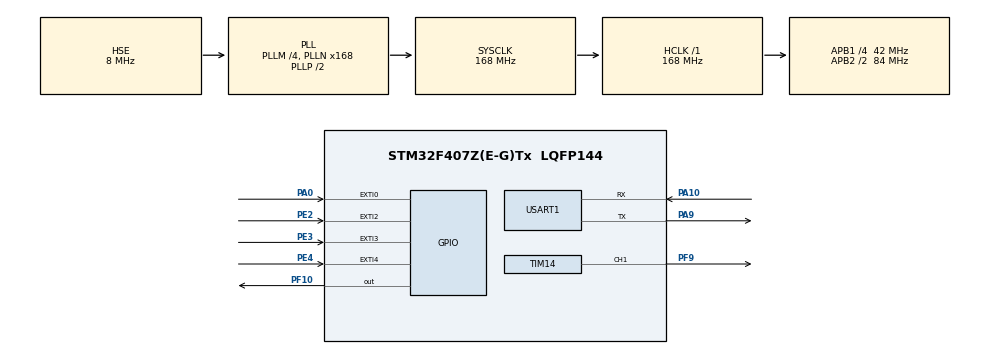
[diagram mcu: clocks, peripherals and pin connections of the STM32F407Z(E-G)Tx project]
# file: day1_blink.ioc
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Dma.Request0=USART1_RX
Dma.USART1_RX.0.Direction=DMA_PERIPH_TO_MEMORY
Dma.USART1_RX.0.FIFOMode=DMA_FIFOMODE_DISABLE
Dma.USART1_RX.0.Instance=DMA2_Stream2
Dma.USART1_RX.0.MemDataAlignment=DMA_MDATAALIGN_BYTE
Dma.USART1_RX.0.MemInc=DMA_MINC_ENABLE
Dma.USART1_RX.0.Mode=DMA_NORMAL
Dma.USART1_RX.0.PeriphDataAlignment=DMA_PDATAALIGN_BYTE
Dma.USART1_RX.0.PeriphInc=DMA_PINC_DISABLE
Dma.USART1_RX.0.Priority=DMA_PRIORITY_LOW
Mcu.Family=STM32F4
Mcu.Name=STM32F407Z(E-G)Tx
Mcu.Package=LQFP144
NVIC.DMA2_Stream2_IRQn=true\:0\:0\:false\:false\:true\:false\:true\:true
NVIC.EXTI0_IRQn=true\:0\:0\:false\:false\:true\:true\:true\:true
NVIC.EXTI2_IRQn=true\:0\:0\:false\:false\:true\:true\:true\:true
NVIC.EXTI3_IRQn=true\:0\:0\:false\:false\:true\:true\:true\:true
NVIC.EXTI4_IRQn=true\:0\:0\:false\:false\:true\:true\:true\:true
NVIC.PriorityGroup=NVIC_PRIORITYGROUP_4
NVIC.TIM2_IRQn=true\:0\:0\:false\:false\:true\:true\:true\:true
NVIC.USART1_IRQn=true\:0\:0\:false\:false\:true\:true\:true\:true
PA0-WKUP.GPIO_ModeDefaultEXTI=GPIO_MODE_IT_RISING
PA0-WKUP.GPIO_PuPd=GPIO_PULLDOWN
PA0-WKUP.Signal=GPXTI0
PA10.Mode=Asynchronous
PA10.Signal=USART1_RX
PA9.Mode=Asynchronous
PA9.Signal=USART1_TX
PE2.GPIO_ModeDefaultEXTI=GPIO_MODE_IT_FALLING
PE2.GPIO_PuPd=GPIO_PULLUP
PE2.Signal=GPXTI2
PE3.GPIO_ModeDefaultEXTI=GPIO_MODE_IT_FALLING
PE3.GPIO_PuPd=GPIO_PULLUP
PE3.Signal=GPXTI3
PE4.GPIO_ModeDefaultEXTI=GPIO_MODE_IT_FALLING
PE4.GPIO_PuPd=GPIO_PULLUP
PE4.Signal=GPXTI4
PF10.Signal=GPIO_Output
PF9.Signal=S_TIM14_CH1
PH0-OSC_IN.Mode=HSE-External-Oscillator
PH0-OSC_IN.Signal=RCC_OSC_IN
PH1-OSC_OUT.Mode=HSE-External-Oscillator
PH1-OSC_OUT.Signal=RCC_OSC_OUT
ProjectManager.HeapSize=0x200
ProjectManager.StackSize=0x400
ProjectManager.TargetToolchain=MDK-ARM V5
RCC.48MHZClocksFreq_Value=84000000
RCC.AHBFreq_Value=168000000
RCC.APB1CLKDivider=RCC_HCLK_DIV4
RCC.APB1Freq_Value=42000000
RCC.APB1TimFreq_Value=84000000
RCC.APB2CLKDivider=RCC_HCLK_DIV2
RCC.APB2Freq_Value=84000000
RCC.APB2TimFreq_Value=168000000
RCC.CortexFreq_Value=168000000
RCC.HCLKFreq_Value=168000000
RCC.HSE_VALUE=8000000
RCC.HSI_VALUE=16000000
RCC.LSE_VALUE=32768
RCC.PLLM=4
RCC.PLLN=168
RCC.PLLSourceVirtual=RCC_PLLSOURCE_HSE
RCC.SYSCLKFreq_VALUE=168000000
RCC.SYSCLKSource=RCC_SYSCLKSOURCE_PLLCLK
RCC.VCOOutputFreq_Value=336000000
SH.S_TIM14_CH1.0=TIM14_CH1,PWM Generation1 CH1
TIM14.Channel=TIM_CHANNEL_1
TIM14.OCPolarity_1=TIM_OCPOLARITY_LOW
TIM14.Period=999
TIM14.Prescaler=83
TIM2.Period=9999
TIM2.Prescaler=8399
USART1.VirtualMode=VM_ASYNC
VP_TIM14_VS_ClockSourceINT.Mode=Enable_Timer
VP_TIM2_VS_ClockSourceINT.Mode=Internal
board=custom

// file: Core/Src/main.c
/* USER CODE BEGIN Header */
/**
  ******************************************************************************
  * @file           : main.c
  * @brief          : Main program body
  ******************************************************************************
  * @attention
  *
  * Copyright (c) 2026 STMicroelectronics.
  * All rights reserved.
  *
  * This software is licensed under terms that can be found in the LICENSE file
  * in the root directory of this software component.
  * If no LICENSE file comes with this software, it is provided AS-IS.
  *
  ******************************************************************************
  */
/* USER CODE END Header */
#include "main.h"

/* USER CODE BEGIN Includes */
#include <stdio.h>
#include "key.h"
/* USER CODE END Includes */

TIM_HandleTypeDef htim2;
TIM_HandleTypeDef htim14;

UART_HandleTypeDef huart1;
DMA_HandleTypeDef hdma_usart1_rx;

/* USER CODE BEGIN PV */
volatile uint8_t key_event = 0;   /* bit0=KEY0, bit1=KEY1, bit2=KEY2, bit3=WKUP */
#define RX_BUF_SIZE  64            /* 接收缓冲区大小 */
uint8_t  rx_buf[RX_BUF_SIZE];      /* DMA 把收到的字节自动搬到这里 */
volatile uint16_t rx_len = 0;      /* 回调置为本次帧长，主循环读它 */
/* USER CODE END PV */

void SystemClock_Config(void);
static void MX_GPIO_Init(void);
static void MX_DMA_Init(void);
static void MX_USART1_UART_Init(void);
static void MX_TIM2_Init(void);
static void MX_TIM14_Init(void);

/* USER CODE BEGIN 0 */
volatile uint8_t t_flag = 0;
#define LED1_ON()   (GPIOF->BSRR = (1UL << 26))   /* BR10 → PF10 拉低 → LED1 亮 */
#define LED1_OFF()  (GPIOF->BSRR = (1UL << 10))   /* BS10 → PF10 拉高 → LED1 灭 */
/* USER CODE END 0 */

int main(void)
{

  /* USER CODE BEGIN 1 */
	uint16_t ccr = 0;
	uint8_t dir = 1;
  /* USER CODE END 1 */

  /* MCU Configuration--------------------------------------------------------*/

  /* Reset of all peripherals, Initializes the Flash interface and the Systick. */
  HAL_Init();

  /* Configure the system clock */
  SystemClock_Config();

  /* Initialize all configured peripherals */
  MX_GPIO_Init();
  MX_DMA_Init();
  MX_USART1_UART_Init();
  MX_TIM2_Init();
  MX_TIM14_Init();
  /* USER CODE BEGIN 2 */
	key_init();
	HAL_TIM_Base_Start_IT(&htim2);
	HAL_TIM_PWM_Start(&htim14, TIM_CHANNEL_1);
  HAL_UARTEx_ReceiveToIdle_DMA(&huart1, rx_buf, RX_BUF_SIZE);
  /* USER CODE END 2 */

  /* Infinite loop */
  while (1)
  {

    /* USER CODE BEGIN 3 */
//		LED1_ON();
//		HAL_Delay(200);
//		LED1_OFF();
//		HAL_Delay(200);
		if (rx_len > 0)
		{
			uint16_t i;
			printf("RX %u bytes: ", rx_len);
			for (i = 0; i < rx_len; i++)
					printf("%02X ", rx_buf[i]);
			printf("\r\n");
			rx_len = 0;
		}
  }
  /* USER CODE END 3 */
}

void SystemClock_Config(void)
{
  RCC_OscInitTypeDef RCC_OscInitStruct = {0};
  RCC_ClkInitTypeDef RCC_ClkInitStruct = {0};

  /** Configure the main internal regulator output voltage
  */
  __HAL_RCC_PWR_CLK_ENABLE();
  __HAL_PWR_VOLTAGESCALING_CONFIG(PWR_REGULATOR_VOLTAGE_SCALE1);

  /** Initializes the RCC Oscillators according to the specified parameters
  * in the RCC_OscInitTypeDef structure.
  */
  RCC_OscInitStruct.OscillatorType = RCC_OSCILLATORTYPE_HSE;
  RCC_OscInitStruct.HSEState = RCC_HSE_ON;
  RCC_OscInitStruct.PLL.PLLState = RCC_PLL_ON;
  RCC_OscInitStruct.PLL.PLLSource = RCC_PLLSOURCE_HSE;
  RCC_OscInitStruct.PLL.PLLM = 4;
  RCC_OscInitStruct.PLL.PLLN = 168;
  RCC_OscInitStruct.PLL.PLLP = RCC_PLLP_DIV2;
  RCC_OscInitStruct.PLL.PLLQ = 4;
  if (HAL_RCC_OscConfig(&RCC_OscInitStruct) != HAL_OK)
  {
    Error_Handler();
  }

  /** Initializes the CPU, AHB and APB buses clocks
  */
  RCC_ClkInitStruct.ClockType = RCC_CLOCKTYPE_HCLK|RCC_CLOCKTYPE_SYSCLK
                              |RCC_CLOCKTYPE_PCLK1|RCC_CLOCKTYPE_PCLK2;
  RCC_ClkInitStruct.SYSCLKSource = RCC_SYSCLKSOURCE_PLLCLK;
  RCC_ClkInitStruct.AHBCLKDivider = RCC_SYSCLK_DIV1;
  RCC_ClkInitStruct.APB1CLKDivider = RCC_HCLK_DIV4;
  RCC_ClkInitStruct.APB2CLKDivider = RCC_HCLK_DIV2;

  if (HAL_RCC_ClockConfig(&RCC_ClkInitStruct, FLASH_LATENCY_5) != HAL_OK)
  {
    Error_Handler();
  }
}

static void MX_TIM2_Init(void)
{

  TIM_ClockConfigTypeDef sClockSourceConfig = {0};
  TIM_MasterConfigTypeDef sMasterConfig = {0};

  htim2.Instance = TIM2;
  htim2.Init.Prescaler = 8399;
  htim2.Init.CounterMode = TIM_COUNTERMODE_UP;
  htim2.Init.Period = 9999;
  htim2.Init.ClockDivision = TIM_CLOCKDIVISION_DIV1;
  htim2.Init.AutoReloadPreload = TIM_AUTORELOAD_PRELOAD_DISABLE;
  if (HAL_TIM_Base_Init(&htim2) != HAL_OK)
  {
    Error_Handler();
  }
  sClockSourceConfig.ClockSource = TIM_CLOCKSOURCE_INTERNAL;
  if (HAL_TIM_ConfigClockSource(&htim2, &sClockSourceConfig) != HAL_OK)
  {
    Error_Handler();
  }
  sMasterConfig.MasterOutputTrigger = TIM_TRGO_RESET;
  sMasterConfig.MasterSlaveMode = TIM_MASTERSLAVEMODE_DISABLE;
  if (HAL_TIMEx_MasterConfigSynchronization(&htim2, &sMasterConfig) != HAL_OK)
  {
    Error_Handler();
  }

}

static void MX_TIM14_Init(void)
{

  TIM_OC_InitTypeDef sConfigOC = {0};

  htim14.Instance = TIM14;
  htim14.Init.Prescaler = 83;
  htim14.Init.CounterMode = TIM_COUNTERMODE_UP;
  htim14.Init.Period = 999;
  htim14.Init.ClockDivision = TIM_CLOCKDIVISION_DIV1;
  htim14.Init.AutoReloadPreload = TIM_AUTORELOAD_PRELOAD_DISABLE;
  if (HAL_TIM_Base_Init(&htim14) != HAL_OK)
  {
    Error_Handler();
  }
  if (HAL_TIM_PWM_Init(&htim14) != HAL_OK)
  {
    Error_Handler();
  }
  sConfigOC.OCMode = TIM_OCMODE_PWM1;
  sConfigOC.Pulse = 0;
  sConfigOC.OCPolarity = TIM_OCPOLARITY_LOW;
  sConfigOC.OCFastMode = TIM_OCFAST_DISABLE;
  if (HAL_TIM_PWM_ConfigChannel(&htim14, &sConfigOC, TIM_CHANNEL_1) != HAL_OK)
  {
    Error_Handler();
  }
  HAL_TIM_MspPostInit(&htim14);

}

static void MX_USART1_UART_Init(void)
{

  huart1.Instance = USART1;
  huart1.Init.BaudRate = 115200;
  huart1.Init.WordLength = UART_WORDLENGTH_8B;
  huart1.Init.StopBits = UART_STOPBITS_1;
  huart1.Init.Parity = UART_PARITY_NONE;
  huart1.Init.Mode = UART_MODE_TX_RX;
  huart1.Init.HwFlowCtl = UART_HWCONTROL_NONE;
  huart1.Init.OverSampling = UART_OVERSAMPLING_16;
  if (HAL_UART_Init(&huart1) != HAL_OK)
  {
    Error_Handler();
  }

}

static void MX_DMA_Init(void)
{

  /* DMA controller clock enable */
  __HAL_RCC_DMA2_CLK_ENABLE();

  /* DMA interrupt init */
  /* DMA2_Stream2_IRQn interrupt configuration */
  HAL_NVIC_SetPriority(DMA2_Stream2_IRQn, 0, 0);
  HAL_NVIC_EnableIRQ(DMA2_Stream2_IRQn);

}

static void MX_GPIO_Init(void)
{
  GPIO_InitTypeDef GPIO_InitStruct = {0};

  /* GPIO Ports Clock Enable */
  __HAL_RCC_GPIOE_CLK_ENABLE();
  __HAL_RCC_GPIOF_CLK_ENABLE();
  __HAL_RCC_GPIOH_CLK_ENABLE();
  __HAL_RCC_GPIOA_CLK_ENABLE();

  /*Configure GPIO pin Output Level */
  HAL_GPIO_WritePin(GPIOF, GPIO_PIN_10, GPIO_PIN_RESET);

  /*Configure GPIO pins : PE2 PE3 PE4 */
  GPIO_InitStruct.Pin = GPIO_PIN_2|GPIO_PIN_3|GPIO_PIN_4;
  GPIO_InitStruct.Mode = GPIO_MODE_IT_FALLING;
  GPIO_InitStruct.Pull = GPIO_PULLUP;
  HAL_GPIO_Init(GPIOE, &GPIO_InitStruct);

  /*Configure GPIO pin : PF10 */
  GPIO_InitStruct.Pin = GPIO_PIN_10;
  GPIO_InitStruct.Mode = GPIO_MODE_OUTPUT_PP;
  GPIO_InitStruct.Pull = GPIO_NOPULL;
  GPIO_InitStruct.Speed = GPIO_SPEED_FREQ_LOW;
  HAL_GPIO_Init(GPIOF, &GPIO_InitStruct);

  /*Configure GPIO pin : PA0 */
  GPIO_InitStruct.Pin = GPIO_PIN_0;
  GPIO_InitStruct.Mode = GPIO_MODE_IT_RISING;
  GPIO_InitStruct.Pull = GPIO_PULLDOWN;
  HAL_GPIO_Init(GPIOA, &GPIO_InitStruct);

  /* EXTI interrupt init*/
  HAL_NVIC_SetPriority(EXTI0_IRQn, 0, 0);
  HAL_NVIC_EnableIRQ(EXTI0_IRQn);

  HAL_NVIC_SetPriority(EXTI2_IRQn, 0, 0);
  HAL_NVIC_EnableIRQ(EXTI2_IRQn);

  HAL_NVIC_SetPriority(EXTI3_IRQn, 0, 0);
  HAL_NVIC_EnableIRQ(EXTI3_IRQn);

  HAL_NVIC_SetPriority(EXTI4_IRQn, 0, 0);
  HAL_NVIC_EnableIRQ(EXTI4_IRQn);

}

/* USER CODE BEGIN 4 */
int fputc(int ch,FILE *f)
{
	 HAL_UART_Transmit(&huart1, (uint8_t *)&ch, 1, 100);
	return ch;
}
void HAL_TIM_PeriodElapsedCallback(TIM_HandleTypeDef *htim)
{
    if (htim->Instance == TIM2)
        t_flag = 1;
}
void HAL_GPIO_EXTI_Callback(uint16_t GPIO_Pin)
{
    if (GPIO_Pin == GPIO_PIN_4)      { key_event |= 0x01; }   /* KEY0 / PE4 */
    else if (GPIO_Pin == GPIO_PIN_3) { key_event |= 0x02; }   /* KEY1 / PE3 */
    else if (GPIO_Pin == GPIO_PIN_2) { key_event |= 0x04; }   /* KEY2 / PE2 */
    else if (GPIO_Pin == GPIO_PIN_0) { key_event |= 0x08; }   /* WKUP / PA0 */
}
void HAL_UARTEx_RxEventCallback(UART_HandleTypeDef *huart, uint16_t Size)
{
    if (huart->Instance == USART1)
    {
        rx_len = Size;   /* 这一帧收到了几个字节 */
        HAL_UARTEx_ReceiveToIdle_DMA(&huart1, rx_buf, RX_BUF_SIZE);  /* 重新武装，等下一帧 */
    }
}
/* USER CODE END 4 */

void Error_Handler(void)
{
  __disable_irq();
  while (1)
  {
  }
}
